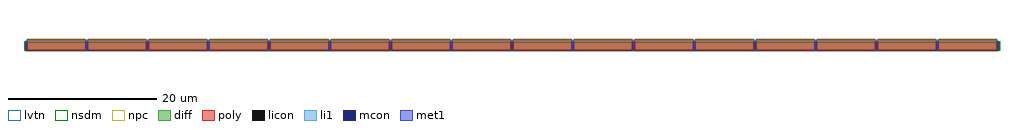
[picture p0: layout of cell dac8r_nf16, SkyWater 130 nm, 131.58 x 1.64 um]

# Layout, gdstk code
import gdstk
lib = gdstk.Library(unit=1e-6, precision=1e-09)
def R(c, l, rs):  # rectangles x0, y0, x1, y1
    for r in rs: c.add(gdstk.rectangle(r[:2], r[2:], *l))
def A(c, l, x, y, w, h, nx, ny, dx, dy):  # array of equal rectangles
    R(c, l, [(x+i*dx, y+j*dy, x+i*dx+w, y+j*dy+h) for i in range(nx) for j in range(ny)])
diff = (65, 20)
poly = (66, 20)
licon = (66, 44)
li1 = (67, 20)
mcon = (67, 44)
met1 = (68, 20)
nsdm = (93, 44)
npc = (95, 20)
lvtn = (125, 44)

dac8r_nf16 = lib.new_cell('dac8r_nf16')
R(dac8r_nf16, diff, [(-65.665,-0.655,65.665,0.345)])
A(dac8r_nf16, poly, -65.375, -0.785, 7.9, 1.57, 16, 1, 8.19, 0)
A(dac8r_nf16, licon, -65.605, -0.58, 0.17, 0.17, 17, 3, 8.19, 0.34)
A(dac8r_nf16, licon, -65.25, 0.535, 0.17, 0.17, 23, 1, 0.34, 0)
A(dac8r_nf16, licon, -57.06, 0.535, 0.17, 0.17, 23, 1, 0.34, 0)
A(dac8r_nf16, licon, -48.87, 0.535, 0.17, 0.17, 23, 1, 0.34, 0)
A(dac8r_nf16, licon, -40.68, 0.535, 0.17, 0.17, 23, 1, 0.34, 0)
A(dac8r_nf16, licon, -32.49, 0.535, 0.17, 0.17, 23, 1, 0.34, 0)
A(dac8r_nf16, licon, -24.3, 0.535, 0.17, 0.17, 23, 1, 0.34, 0)
A(dac8r_nf16, licon, -16.11, 0.535, 0.17, 0.17, 23, 1, 0.34, 0)
A(dac8r_nf16, licon, -7.92, 0.535, 0.17, 0.17, 23, 1, 0.34, 0)
A(dac8r_nf16, licon, 0.27, 0.535, 0.17, 0.17, 23, 1, 0.34, 0)
A(dac8r_nf16, licon, 8.46, 0.535, 0.17, 0.17, 23, 1, 0.34, 0)
A(dac8r_nf16, licon, 16.65, 0.535, 0.17, 0.17, 23, 1, 0.34, 0)
A(dac8r_nf16, licon, 24.84, 0.535, 0.17, 0.17, 23, 1, 0.34, 0)
A(dac8r_nf16, licon, 33.03, 0.535, 0.17, 0.17, 23, 1, 0.34, 0)
A(dac8r_nf16, licon, 41.22, 0.535, 0.17, 0.17, 23, 1, 0.34, 0)
A(dac8r_nf16, licon, 49.41, 0.535, 0.17, 0.17, 23, 1, 0.34, 0)
A(dac8r_nf16, licon, 57.6, 0.535, 0.17, 0.17, 23, 1, 0.34, 0)
A(dac8r_nf16, li1, -65.605, -0.675, 0.17, 1.04, 17, 1, 8.19, 0)
R(dac8r_nf16, li1, [(-65.52,0.535,65.52,0.705)])
A(dac8r_nf16, mcon, -65.605, -0.42, 0.17, 0.17, 17, 2, 8.19, 0.36)
A(dac8r_nf16, met1, -65.635, -0.655, 0.23, 1, 17, 1, 8.19, 0)
R(dac8r_nf16, nsdm, [(-65.79,-0.78,65.79,0.47)])
A(dac8r_nf16, npc, -65.35, 0.435, 7.85, 0.37, 16, 1, 8.19, 0)
R(dac8r_nf16, lvtn, [(-65.555,-0.835,65.555,0.525)])

lib.write_gds('dac8r_nf16.gds')
